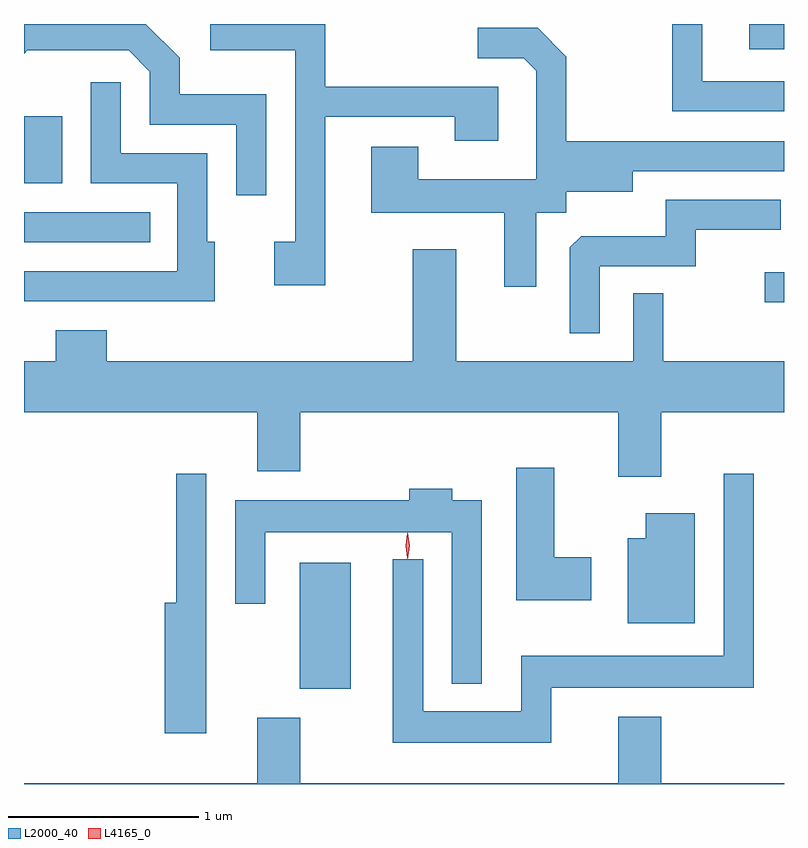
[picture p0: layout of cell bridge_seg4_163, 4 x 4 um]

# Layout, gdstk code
import gdstk
lib = gdstk.Library(unit=1e-6, precision=1e-09)
def R(c, l, rs):  # rectangles x0, y0, x1, y1
    for r in rs: c.add(gdstk.rectangle(r[:2], r[2:], *l))
def P(c, l, *ps):  # polygons
    for p in ps: c.add(gdstk.Polygon(p, *l))
L2000_40 = (2000, 40)
L4165_0 = (4165, 0)

bridge_seg4_163 = lib.new_cell('bridge_seg4_163')
R(bridge_seg4_163, L2000_40, [(951.196,1306.601,951.464,1307.264), (953.643,1308.636,953.744,1308.794), (949.744,1308.951,950.408,1309.109), (949.744,1309.261,949.944,1309.614), (953.561,1309.966,953.744,1310.1)])
P(bridge_seg4_163, L2000_40, [(951.329,1309.611),(952.011,1309.611),(952.011,1309.486),(952.239,1309.486),(952.239,1309.769),(951.329,1309.769),(951.329,1310.1),(950.723,1310.1),(950.723,1309.961),(951.171,1309.961),(951.171,1308.954),(951.061,1308.954),(951.061,1308.726),(951.329,1308.726)],
  [(951.019,1309.729),(950.564,1309.729),(950.564,1309.922),(950.386,1310.1),(949.744,1310.1),(949.744,1309.943),(949.762,1309.961),(950.294,1309.961),(950.406,1309.849),(950.406,1309.571),(950.861,1309.571),(950.861,1309.198),(951.019,1309.198)],
  [(953.744,1309.799),(953.314,1309.799),(953.314,1310.1),(953.156,1310.1),(953.156,1309.641),(953.744,1309.641)],
  [(952.439,1309.106),(952.599,1309.106),(952.599,1309.216),(952.949,1309.216),(952.949,1309.326),(953.744,1309.326),(953.744,1309.484),(952.599,1309.484),(952.599,1309.927),(952.447,1310.079),(952.133,1310.079),(952.133,1309.921),(952.374,1309.921),(952.441,1309.854),(952.441,1309.284),(951.819,1309.284),(951.819,1309.454),(951.571,1309.454),(951.571,1309.106),(952.271,1309.106),(952.271,1308.718),(952.439,1308.718)],
  [(950.749,1308.954),(950.709,1308.954),(950.709,1309.419),(950.254,1309.419),(950.254,1309.793),(950.096,1309.793),(950.096,1309.261),(950.551,1309.261),(950.551,1308.799),(949.744,1308.799),(949.744,1308.641),(950.749,1308.641)],
  [(952.774,1308.826),(953.279,1308.826),(953.279,1309.016),(953.728,1309.016),(953.728,1309.174),(953.121,1309.174),(953.121,1308.984),(952.677,1308.984),(952.616,1308.924),(952.616,1308.473),(952.774,1308.473)],
  [(949.911,1308.489),(949.911,1308.324),(949.744,1308.324),(949.744,1308.056),(950.971,1308.056),(950.971,1307.746),(951.199,1307.746),(951.199,1308.056),(952.871,1308.056),(952.871,1307.716),(953.099,1307.716),(953.099,1308.056),(953.744,1308.056),(953.744,1308.324),(953.109,1308.324),(953.109,1308.683),(952.951,1308.683),(952.951,1308.324),(952.019,1308.324),(952.019,1308.914),(951.791,1308.914),(951.791,1308.324),(950.179,1308.324),(950.179,1308.489)],
  [(952.729,1307.294),(952.534,1307.294),(952.534,1307.764),(952.336,1307.764),(952.336,1307.066),(952.729,1307.066)],
  [(950.704,1307.733),(950.546,1307.733),(950.546,1307.054),(950.486,1307.054),(950.486,1306.366),(950.704,1306.366)],
  [(952.519,1306.606),(953.584,1306.606),(953.584,1307.733),(953.426,1307.733),(953.426,1306.774),(952.361,1306.774),(952.361,1306.484),(951.844,1306.484),(951.844,1307.283),(951.686,1307.283),(951.686,1306.316),(952.519,1306.316)],
  [(952.154,1307.594),(951.999,1307.594),(951.999,1307.654),(951.771,1307.654),(951.771,1307.594),(950.856,1307.594),(950.856,1307.048),(951.014,1307.048),(951.014,1307.426),(951.996,1307.426),(951.996,1306.628),(952.154,1306.628)],
  [(953.274,1307.524),(953.016,1307.524),(953.016,1307.394),(952.921,1307.394),(952.921,1306.946),(953.274,1306.946)],
  [(953.744,1306.104),(953.099,1306.104),(953.099,1306.454),(952.871,1306.454),(952.871,1306.104),(951.199,1306.104),(951.199,1306.449),(950.971,1306.449),(950.971,1306.104),(949.744,1306.104),(949.744,1306.1),(953.744,1306.1)])
P(bridge_seg4_163, L4165_0, [(951.763,1307.284),(951.763,1307.284),(951.753,1307.353),(951.763,1307.422),(951.763,1307.423),(951.764,1307.422),(951.773,1307.353),(951.764,1307.284)],
  [(951.762,1307.287),(951.762,1307.288),(951.752,1307.354),(951.762,1307.42),(951.762,1307.42),(951.763,1307.42),(951.772,1307.354),(951.763,1307.288)])

lib.write_gds('bridge_seg4_163.gds')
